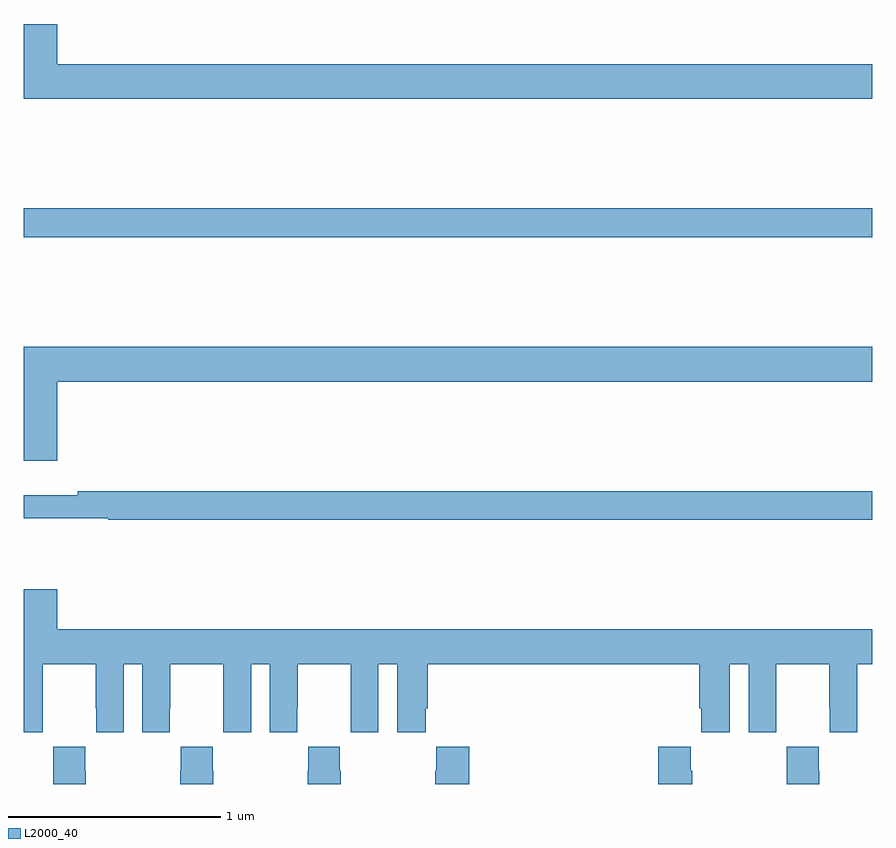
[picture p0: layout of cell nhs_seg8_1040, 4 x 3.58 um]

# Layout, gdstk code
import gdstk
lib = gdstk.Library(unit=1e-6, precision=1e-09)
def R(c, l, rs):  # rectangles x0, y0, x1, y1
    for r in rs: c.add(gdstk.rectangle(r[:2], r[2:], *l))
def P(c, l, *ps):  # polygons
    for p in ps: c.add(gdstk.Polygon(p, *l))
L2000_40 = (2000, 40)

nhs_seg8_1040 = lib.new_cell('nhs_seg8_1040')
R(nhs_seg8_1040, L2000_40, [(177,1154.476,181,1154.612)])
P(nhs_seg8_1040, L2000_40, [(181,1155.292),(177.16,1155.292),(177.16,1155.481),(177,1155.481),(177,1155.128),(181,1155.128)],
  [(177.16,1153.796),(181,1153.796),(181,1153.96),(177,1153.96),(177,1153.422),(177.16,1153.422)],
  [(181,1153.28),(177.256,1153.28),(177.256,1153.261),(177,1153.261),(177,1153.152),(177.398,1153.152),(177.398,1153.144),(181,1153.144)],
  [(177.16,1152.817),(177,1152.817),(177,1152.144),(177.09,1152.144),(177.09,1152.256),(177.091,1152.256),(177.091,1152.464),(177.341,1152.464),(177.341,1152.256),(177.342,1152.256),(177.342,1152.144),(177.472,1152.144),(177.472,1152.464),(177.56,1152.464),(177.56,1152.144),(177.69,1152.144),(177.69,1152.256),(177.691,1152.256),(177.691,1152.464),(177.941,1152.464),(177.941,1152.256),(177.942,1152.256),(177.942,1152.144),(178.072,1152.144),(178.072,1152.464),(178.16,1152.464),(178.16,1152.144),(178.29,1152.144),(178.29,1152.256),(178.291,1152.256),(178.291,1152.464),(178.541,1152.464),(178.541,1152.256),(178.542,1152.256),(178.542,1152.144),(178.672,1152.144),(178.672,1152.464),(178.76,1152.464),(178.76,1152.144),(178.894,1152.144),(178.894,1152.256),(178.904,1152.256),(178.904,1152.464),(180.185,1152.464),(180.185,1152.256),(180.194,1152.256),(180.194,1152.144),(180.328,1152.144),(180.328,1152.464),(180.416,1152.464),(180.416,1152.144),(180.546,1152.144),(180.546,1152.256),(180.547,1152.256),(180.547,1152.464),(180.797,1152.464),(180.797,1152.256),(180.798,1152.256),(180.798,1152.144),(180.928,1152.144),(180.928,1152.464),(181,1152.464),(181,1152.628),(177.16,1152.628)],
  [(180.75,1151.963),(180.747,1151.963),(180.747,1152.076),(180.597,1152.076),(180.597,1151.963),(180.595,1151.963),(180.595,1151.9),(180.75,1151.9)],
  [(180.15,1151.963),(180.143,1151.963),(180.143,1152.076),(179.99,1152.076),(179.99,1151.9),(180.15,1151.9)],
  [(179.099,1152.076),(178.945,1152.076),(178.945,1151.963),(178.939,1151.963),(178.939,1151.9),(179.099,1151.9)],
  [(178.494,1151.963),(178.491,1151.963),(178.491,1152.076),(178.341,1152.076),(178.341,1151.963),(178.339,1151.963),(178.339,1151.9),(178.494,1151.9)],
  [(177.741,1151.963),(177.739,1151.963),(177.739,1151.9),(177.894,1151.9),(177.894,1151.963),(177.891,1151.963),(177.891,1152.076),(177.741,1152.076)],
  [(177.294,1151.963),(177.291,1151.963),(177.291,1152.076),(177.141,1152.076),(177.141,1151.963),(177.139,1151.963),(177.139,1151.9),(177.294,1151.9)])

lib.write_gds('nhs_seg8_1040.gds')
